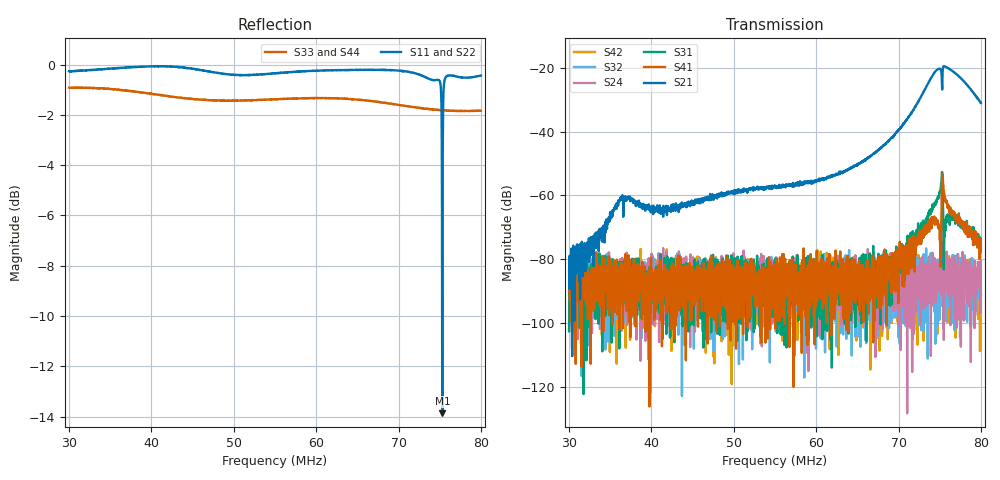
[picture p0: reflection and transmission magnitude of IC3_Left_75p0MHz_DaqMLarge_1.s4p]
#  HZ  S  DB  R  50.00
! Rohde & Schwarz Vector Network Analyzer
! Rohde-Schwarz,ZNB8-4Port,1311601044102961,2.82
! Created: UTC 2/12/2019, 1:37:54 PM
! freq[Hz]  db:S11  ang:S11  db:S12  ang:S12  db:S13  ang:S13  db:S14  ang:S14
!  db:S21  ang:S21  db:S22  ang:S22  db:S23  ang:S23  db:S24  ang:S24
!  db:S31  ang:S31  db:S32  ang:S32  db:S33  ang:S33  db:S34  ang:S34
!  db:S41  ang:S41  db:S42  ang:S42  db:S43  ang:S43  db:S44  ang:S44
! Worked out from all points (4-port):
!   2001 points, 30 MHz to 80 MHz, reference 50 ohm
!   strongest paths, dB at 30 MHz, 42.5 MHz, 55 MHz, 67.5 MHz, 80 MHz:
!     S21: -89.1, -64.2, -56.9, -45.7, -31.0
!     S41: -83.9, -88.1, -99.4, -83.2, -77.6
!     S31: -102.7, -86.2, -84.2, -85.4, -74.1
!     S24: -83.5, -83.6, -93.6, -99.6, -80.6
!     S32: -82.5, -82.8, -82.0, -90.6, -89.2
!     S42: -91.0, -79.6, -91.2, -88.3, -91.4
!   lowest |S11| = -13.9 dB at 75.33 MHz (marker M1), VSWR 1.51, Z = 74 + j7.72 ohm
!   |S11| at or under -10 dB: 75.2903 MHz to 75.33706 MHz (46.75 kHz wide, 0.0621 % of centre)
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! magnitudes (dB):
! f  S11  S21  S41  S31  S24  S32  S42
! 30 MHz  -0.3  -89.1  -83.9  -102.7  -83.5  -82.5  -91.0
! 36.3 MHz  -0.1  -60.7  -87.1  -84.1  -87.4  -88.4  -83.1
! 64.42 MHz  -0.2  -51.1  -80.7  -82.1  -83.4  -89.1  -87.9
! 71.08 MHz  -0.3  -35.9  -82.0  -79.8  -79.2  -81.5  -88.4
! 74.95 MHz  -0.6  -20.3  -70.2  -59.9  -83.7  -99.1  -99.1
! 75.33 MHz  -13.9  -24.1  -53.3  -53.7  -74.6  -79.7  -77.0
! 80 MHz  -0.4  -31.0  -77.6  -74.1  -80.6  -89.2  -91.4
